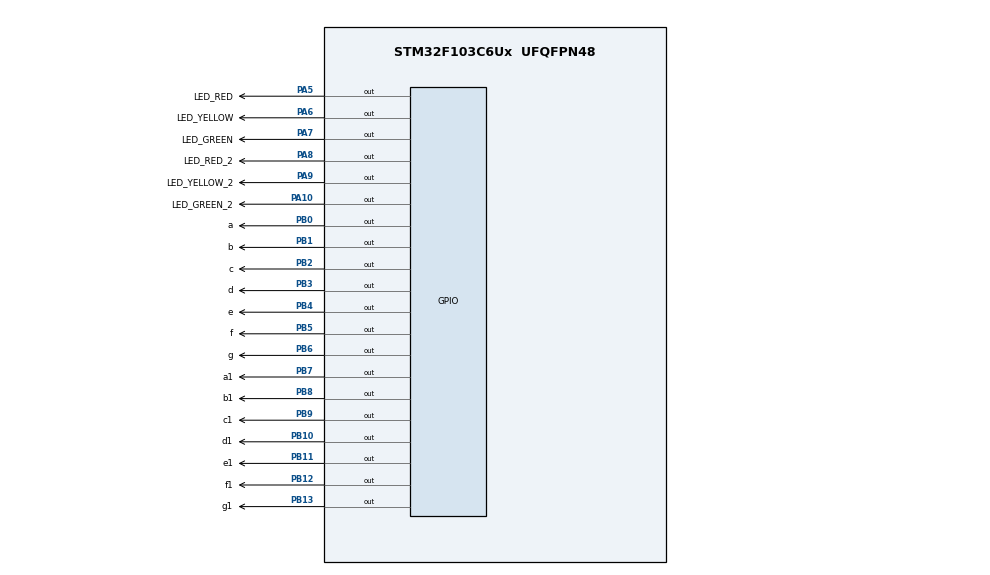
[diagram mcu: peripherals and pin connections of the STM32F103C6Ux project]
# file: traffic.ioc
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Mcu.Family=STM32F1
Mcu.Name=STM32F103C6Ux
Mcu.Package=UFQFPN48
NVIC.PriorityGroup=NVIC_PRIORITYGROUP_4
PA10.GPIO_Label=LED_GREEN_2
PA10.Signal=GPIO_Output
PA5.GPIO_Label=LED_RED
PA5.Signal=GPIO_Output
PA6.GPIO_Label=LED_YELLOW
PA6.Signal=GPIO_Output
PA7.GPIO_Label=LED_GREEN
PA7.Signal=GPIO_Output
PA8.GPIO_Label=LED_RED_2
PA8.Signal=GPIO_Output
PA9.GPIO_Label=LED_YELLOW_2
PA9.Signal=GPIO_Output
PB0.GPIO_Label=a
PB0.Signal=GPIO_Output
PB1.GPIO_Label=b
PB1.Signal=GPIO_Output
PB10.GPIO_Label=d1
PB10.Signal=GPIO_Output
PB11.GPIO_Label=e1
PB11.Signal=GPIO_Output
PB12.GPIO_Label=f1
PB12.Signal=GPIO_Output
PB13.GPIO_Label=g1
PB13.Signal=GPIO_Output
PB2.GPIO_Label=c
PB2.Signal=GPIO_Output
PB3.GPIO_Label=d
PB3.Signal=GPIO_Output
PB4.GPIO_Label=e
PB4.Signal=GPIO_Output
PB5.GPIO_Label=f
PB5.Signal=GPIO_Output
PB6.GPIO_Label=g
PB6.Signal=GPIO_Output
PB7.GPIO_Label=a1
PB7.Signal=GPIO_Output
PB8.GPIO_Label=b1
PB8.Signal=GPIO_Output
PB9.GPIO_Label=c1
PB9.Signal=GPIO_Output
ProjectManager.HeapSize=0x200
ProjectManager.StackSize=0x400
ProjectManager.TargetToolchain=STM32CubeIDE
RCC.APB1Freq_Value=8000000
RCC.APB2Freq_Value=8000000
VP_SYS_VS_ND.Mode=No_Debug
board=custom

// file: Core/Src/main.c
/* USER CODE BEGIN Header */
/**
  ******************************************************************************
  * @file           : main.c
  * @brief          : Main program body
  ******************************************************************************
  * @attention
  *
  * <h2><center>&copy; Copyright (c) 2022 STMicroelectronics.
  * All rights reserved.</center></h2>
  *
  * This software component is licensed by ST under BSD 3-Clause license,
  * the "License"; You may not use this file except in compliance with the
  * License. You may obtain a copy of the License at:
  *                        opensource.org/licenses/BSD-3-Clause
  *
  ******************************************************************************
  */
/* USER CODE END Header */
#include "main.h"

void SystemClock_Config(void);
static void MX_GPIO_Init(void);

/* USER CODE BEGIN 0 */
void display7segment(int num);
void display7segment1(int num);
/* USER CODE END 0 */

int main(void)
{

  /* MCU Configuration--------------------------------------------------------*/

  /* Reset of all peripherals, Initializes the Flash interface and the Systick. */
  HAL_Init();

  /* Configure the system clock */
  SystemClock_Config();

  /* Initialize all configured peripherals */
  MX_GPIO_Init();

  /* Infinite loop */
  /* USER CODE BEGIN WHILE */
  int temp = 0; /*For 2 traffic lights with red led first*/
  int temp1 = 0; /*For 2 traffic lights with green led first*/
  while (1)
  {
    /* USER CODE END WHILE */

    /* USER CODE BEGIN 3 */

	/*Traffic light with red led first*/
	  if (temp < 5) {
	  		  HAL_GPIO_WritePin(LED_RED_GPIO_Port, LED_RED_Pin, RESET);
	  	 	  HAL_GPIO_WritePin(LED_GREEN_GPIO_Port, LED_GREEN_Pin, SET);
	  	 	  HAL_GPIO_WritePin(LED_YELLOW_GPIO_Port, LED_YELLOW_Pin, SET);
	  	  }
	  	  else if (temp < 8){
	  		  HAL_GPIO_WritePin(LED_RED_GPIO_Port, LED_RED_Pin, SET);
	  		  HAL_GPIO_WritePin(LED_GREEN_GPIO_Port, LED_GREEN_Pin, RESET);
	  		  HAL_GPIO_WritePin(LED_YELLOW_GPIO_Port, LED_YELLOW_Pin, SET);
	  	  }
	  	  else {
	  		  HAL_GPIO_WritePin(LED_RED_GPIO_Port, LED_RED_Pin, SET);
	  	 	  HAL_GPIO_WritePin(LED_GREEN_GPIO_Port, LED_GREEN_Pin, SET);
	  	 	  HAL_GPIO_WritePin(LED_YELLOW_GPIO_Port, LED_YELLOW_Pin, RESET);
	  	  }
	  	switch (temp){
	  	/*Countdown for red led 4s to 0s*/
	  	case 0:
	  		display7segment(4);
	  		break;
	  	case 1:
	  		  		display7segment(3);
	  		  		break;
	  	case 2:
	  		 		display7segment(2);
	  		  		break;
	  	case 3:
	  		  		display7segment(1);
	  		  		break;
	  	case 4:
	  		  		display7segment(0);
	  		  		break;
	  	/*Countdown for green led 2s to 0s*/
	  	case 5:
	  		  		display7segment(2);
	  		  		break;
	  	case 6:
	  		  		  		display7segment(1);
	  		  		  		break;
	  	case 7:
	  		  		  		display7segment(0);
	  		  		  		break;
	  	/*Countdown for yellow led 1s to 0s*/
	  	case 8:
	  		  		  		display7segment(1);
	  		  		  		break;
	  	case 9:
	  		  		  		display7segment(0);
	  		  		  		break;
	  	}
	  	  temp++;
	  	  if (temp >= 10) temp = 0;
	  	/*Traffic light with green led first*/
	  	if (temp1 < 3) {
	  			  HAL_GPIO_WritePin(LED_RED_2_GPIO_Port, LED_RED_2_Pin, SET);
	  		 	  HAL_GPIO_WritePin(LED_GREEN_2_GPIO_Port, LED_GREEN_2_Pin, RESET);
	  		 	  HAL_GPIO_WritePin(LED_YELLOW_2_GPIO_Port, LED_YELLOW_2_Pin, SET);
	  		  }
	  		  else if (temp1 < 5){
	  			  HAL_GPIO_WritePin(LED_RED_2_GPIO_Port, LED_RED_2_Pin, SET);
	  			  HAL_GPIO_WritePin(LED_GREEN_2_GPIO_Port, LED_GREEN_2_Pin, SET);
	  			  HAL_GPIO_WritePin(LED_YELLOW_2_GPIO_Port, LED_YELLOW_2_Pin, RESET);
	  		  }
	  		  else {
	  			  HAL_GPIO_WritePin(LED_RED_2_GPIO_Port, LED_RED_2_Pin, RESET);
	  		 	  HAL_GPIO_WritePin(LED_RED_2_GPIO_Port, LED_RED_Pin, SET);
	  		 	  HAL_GPIO_WritePin(LED_YELLOW_2_GPIO_Port, LED_YELLOW_2_Pin, SET);
	  		  }
	  	switch (temp1){
	  			/*Countdown for green led 2s to 0s*/
	  		  	case 0:
	  		  		display7segment1(2);
	  		  		break;
	  		  	case 1:
	  		  		  		display7segment1(1);
	  		  		  		break;
	  		  	case 2:
	  		  		 		display7segment1(0);
	  		  		  		break;
	  		  	/*Countdown for yellow led 1s to 0s*/
	  		  	case 3:
	  		  		  		display7segment1(1);
	  		  		  		break;
	  		  	case 4:
	  		  		  		display7segment1(0);
	  		  		  		break;
	  		  	/*Countdown for red led 4s to 0s*/
	  		  	case 5:
	  		  		  		display7segment1(4);
	  		  		  		break;
	  		  	case 6:
	  		  		  		  		display7segment1(3);
	  		  		  		  		break;
	  		  	case 7:
	  		  		  		  		display7segment1(2);
	  		  		  		  		break;
	  		  	case 8:
	  		  		  		  		display7segment1(1);
	  		  		  		  		break;
	  		  	case 9:
	  		  		  		  		display7segment1(0);
	  		  		  		  		break;
	  		  	}
	  		  temp1++;
	  		  if (temp1 >= 10) temp1 = 0;
	  	  HAL_Delay(1000);
  }
  /* USER CODE END 3 */
}

void SystemClock_Config(void)
{
  RCC_OscInitTypeDef RCC_OscInitStruct = {0};
  RCC_ClkInitTypeDef RCC_ClkInitStruct = {0};

  /** Initializes the RCC Oscillators according to the specified parameters
  * in the RCC_OscInitTypeDef structure.
  */
  RCC_OscInitStruct.OscillatorType = RCC_OSCILLATORTYPE_HSI;
  RCC_OscInitStruct.HSIState = RCC_HSI_ON;
  RCC_OscInitStruct.HSICalibrationValue = RCC_HSICALIBRATION_DEFAULT;
  RCC_OscInitStruct.PLL.PLLState = RCC_PLL_NONE;
  if (HAL_RCC_OscConfig(&RCC_OscInitStruct) != HAL_OK)
  {
    Error_Handler();
  }
  /** Initializes the CPU, AHB and APB buses clocks
  */
  RCC_ClkInitStruct.ClockType = RCC_CLOCKTYPE_HCLK|RCC_CLOCKTYPE_SYSCLK
                              |RCC_CLOCKTYPE_PCLK1|RCC_CLOCKTYPE_PCLK2;
  RCC_ClkInitStruct.SYSCLKSource = RCC_SYSCLKSOURCE_HSI;
  RCC_ClkInitStruct.AHBCLKDivider = RCC_SYSCLK_DIV1;
  RCC_ClkInitStruct.APB1CLKDivider = RCC_HCLK_DIV1;
  RCC_ClkInitStruct.APB2CLKDivider = RCC_HCLK_DIV1;

  if (HAL_RCC_ClockConfig(&RCC_ClkInitStruct, FLASH_LATENCY_0) != HAL_OK)
  {
    Error_Handler();
  }
}

static void MX_GPIO_Init(void)
{
  GPIO_InitTypeDef GPIO_InitStruct = {0};

  /* GPIO Ports Clock Enable */
  __HAL_RCC_GPIOA_CLK_ENABLE();
  __HAL_RCC_GPIOB_CLK_ENABLE();

  /*Configure GPIO pin Output Level */
  HAL_GPIO_WritePin(GPIOA, LED_RED_Pin|LED_YELLOW_Pin|LED_GREEN_Pin|LED_RED_2_Pin
                          |LED_YELLOW_2_Pin|LED_GREEN_2_Pin, GPIO_PIN_RESET);

  /*Configure GPIO pin Output Level */
  HAL_GPIO_WritePin(GPIOB, a_Pin|b_Pin|c_Pin|d1_Pin
                          |e1_Pin|f1_Pin|g1_Pin|d_Pin
                          |e_Pin|f_Pin|g_Pin|a1_Pin
                          |b1_Pin|c1_Pin, GPIO_PIN_RESET);

  /*Configure GPIO pins : LED_RED_Pin LED_YELLOW_Pin LED_GREEN_Pin LED_RED_2_Pin
                           LED_YELLOW_2_Pin LED_GREEN_2_Pin */
  GPIO_InitStruct.Pin = LED_RED_Pin|LED_YELLOW_Pin|LED_GREEN_Pin|LED_RED_2_Pin
                          |LED_YELLOW_2_Pin|LED_GREEN_2_Pin;
  GPIO_InitStruct.Mode = GPIO_MODE_OUTPUT_PP;
  GPIO_InitStruct.Pull = GPIO_NOPULL;
  GPIO_InitStruct.Speed = GPIO_SPEED_FREQ_LOW;
  HAL_GPIO_Init(GPIOA, &GPIO_InitStruct);

  /*Configure GPIO pins : a_Pin b_Pin c_Pin d1_Pin
                           e1_Pin f1_Pin g1_Pin d_Pin
                           e_Pin f_Pin g_Pin a1_Pin
                           b1_Pin c1_Pin */
  GPIO_InitStruct.Pin = a_Pin|b_Pin|c_Pin|d1_Pin
                          |e1_Pin|f1_Pin|g1_Pin|d_Pin
                          |e_Pin|f_Pin|g_Pin|a1_Pin
                          |b1_Pin|c1_Pin;
  GPIO_InitStruct.Mode = GPIO_MODE_OUTPUT_PP;
  GPIO_InitStruct.Pull = GPIO_NOPULL;
  GPIO_InitStruct.Speed = GPIO_SPEED_FREQ_LOW;
  HAL_GPIO_Init(GPIOB, &GPIO_InitStruct);

}

/* USER CODE BEGIN 4 */
void display7segment(int num){
	if (num == 0){
		HAL_GPIO_WritePin(a_GPIO_Port, a_Pin, RESET);
		HAL_GPIO_WritePin(b_GPIO_Port, b_Pin, RESET);
		HAL_GPIO_WritePin(c_GPIO_Port, c_Pin, RESET);
		HAL_GPIO_WritePin(d_GPIO_Port, d_Pin, RESET);
		HAL_GPIO_WritePin(e_GPIO_Port, e_Pin, RESET);
		HAL_GPIO_WritePin(f_GPIO_Port, f_Pin, RESET);
		HAL_GPIO_WritePin(g_GPIO_Port, g_Pin, SET);
	}
	if (num == 1){
			HAL_GPIO_WritePin(a_GPIO_Port, a_Pin, SET);
			HAL_GPIO_WritePin(b_GPIO_Port, b_Pin, RESET);
			HAL_GPIO_WritePin(c_GPIO_Port, c_Pin, RESET);
			HAL_GPIO_WritePin(d_GPIO_Port, d_Pin, SET);
			HAL_GPIO_WritePin(e_GPIO_Port, e_Pin, SET);
			HAL_GPIO_WritePin(f_GPIO_Port, f_Pin, SET);
			HAL_GPIO_WritePin(g_GPIO_Port, g_Pin, SET);
		}
	if (num == 2){
			HAL_GPIO_WritePin(a_GPIO_Port, a_Pin, RESET);
			HAL_GPIO_WritePin(b_GPIO_Port, b_Pin, RESET);
			HAL_GPIO_WritePin(c_GPIO_Port, c_Pin, SET);
			HAL_GPIO_WritePin(d_GPIO_Port, d_Pin, RESET);
			HAL_GPIO_WritePin(e_GPIO_Port, e_Pin, RESET);
			HAL_GPIO_WritePin(f_GPIO_Port, f_Pin, SET);
			HAL_GPIO_WritePin(g_GPIO_Port, g_Pin, RESET);
		}
	if (num == 3){
			HAL_GPIO_WritePin(a_GPIO_Port, a_Pin, RESET);
			HAL_GPIO_WritePin(b_GPIO_Port, b_Pin, RESET);
			HAL_GPIO_WritePin(c_GPIO_Port, c_Pin, RESET);
			HAL_GPIO_WritePin(d_GPIO_Port, d_Pin, RESET);
			HAL_GPIO_WritePin(e_GPIO_Port, e_Pin, SET);
			HAL_GPIO_WritePin(f_GPIO_Port, f_Pin, SET);
			HAL_GPIO_WritePin(g_GPIO_Port, g_Pin, RESET);
		}
	if (num == 4){
			HAL_GPIO_WritePin(a_GPIO_Port, a_Pin, SET);
			HAL_GPIO_WritePin(b_GPIO_Port, b_Pin, RESET);
			HAL_GPIO_WritePin(c_GPIO_Port, c_Pin, RESET);
			HAL_GPIO_WritePin(d_GPIO_Port, d_Pin, SET);
			HAL_GPIO_WritePin(e_GPIO_Port, e_Pin, SET);
			HAL_GPIO_WritePin(f_GPIO_Port, f_Pin, RESET);
			HAL_GPIO_WritePin(g_GPIO_Port, g_Pin, RESET);
		}
	if (num == 5){
			HAL_GPIO_WritePin(a_GPIO_Port, a_Pin, RESET);
			HAL_GPIO_WritePin(b_GPIO_Port, b_Pin, SET);
			HAL_GPIO_WritePin(c_GPIO_Port, c_Pin, RESET);
			HAL_GPIO_WritePin(d_GPIO_Port, d_Pin, RESET);
			HAL_GPIO_WritePin(e_GPIO_Port, e_Pin, SET);
			HAL_GPIO_WritePin(f_GPIO_Port, f_Pin, RESET);
			HAL_GPIO_WritePin(g_GPIO_Port, g_Pin, RESET);
		}
	if (num == 6){
			HAL_GPIO_WritePin(a_GPIO_Port, a_Pin, RESET);
			HAL_GPIO_WritePin(b_GPIO_Port, b_Pin, SET);
			HAL_GPIO_WritePin(c_GPIO_Port, c_Pin, RESET);
			HAL_GPIO_WritePin(d_GPIO_Port, d_Pin, RESET);
			HAL_GPIO_WritePin(e_GPIO_Port, e_Pin, RESET);
			HAL_GPIO_WritePin(f_GPIO_Port, f_Pin, RESET);
			HAL_GPIO_WritePin(g_GPIO_Port, g_Pin, RESET);
		}
	if (num == 7){
			HAL_GPIO_WritePin(a_GPIO_Port, a_Pin, RESET);
			HAL_GPIO_WritePin(b_GPIO_Port, b_Pin, RESET);
			HAL_GPIO_WritePin(c_GPIO_Port, c_Pin, RESET);
			HAL_GPIO_WritePin(d_GPIO_Port, d_Pin, SET);
			HAL_GPIO_WritePin(e_GPIO_Port, e_Pin, SET);
			HAL_GPIO_WritePin(f_GPIO_Port, f_Pin, SET);
			HAL_GPIO_WritePin(g_GPIO_Port, g_Pin, SET);
		}
	if (num == 8){
			HAL_GPIO_WritePin(a_GPIO_Port, a_Pin, RESET);
			HAL_GPIO_WritePin(b_GPIO_Port, b_Pin, RESET);
			HAL_GPIO_WritePin(c_GPIO_Port, c_Pin, RESET);
			HAL_GPIO_WritePin(d_GPIO_Port, d_Pin, RESET);
			HAL_GPIO_WritePin(e_GPIO_Port, e_Pin, RESET);
			HAL_GPIO_WritePin(f_GPIO_Port, f_Pin, RESET);
			HAL_GPIO_WritePin(g_GPIO_Port, g_Pin, RESET);
		}
	if (num == 9){
			HAL_GPIO_WritePin(a_GPIO_Port, a_Pin, RESET);
			HAL_GPIO_WritePin(b_GPIO_Port, b_Pin, RESET);
			HAL_GPIO_WritePin(c_GPIO_Port, c_Pin, RESET);
			HAL_GPIO_WritePin(d_GPIO_Port, d_Pin, RESET);
			HAL_GPIO_WritePin(e_GPIO_Port, e_Pin, SET);
			HAL_GPIO_WritePin(f_GPIO_Port, f_Pin, RESET);
			HAL_GPIO_WritePin(g_GPIO_Port, g_Pin, RESET);
		}
}
void display7segment1(int num){
	if (num == 0){
		HAL_GPIO_WritePin(a1_GPIO_Port, a1_Pin, RESET);
		HAL_GPIO_WritePin(b1_GPIO_Port, b1_Pin, RESET);
		HAL_GPIO_WritePin(c1_GPIO_Port, c1_Pin, RESET);
		HAL_GPIO_WritePin(d1_GPIO_Port, d1_Pin, RESET);
		HAL_GPIO_WritePin(e1_GPIO_Port, e1_Pin, RESET);
		HAL_GPIO_WritePin(f1_GPIO_Port, f1_Pin, RESET);
		HAL_GPIO_WritePin(g1_GPIO_Port, g1_Pin, SET);
	}
	if (num == 1){
			HAL_GPIO_WritePin(a1_GPIO_Port, a1_Pin, SET);
			HAL_GPIO_WritePin(b1_GPIO_Port, b1_Pin, RESET);
			HAL_GPIO_WritePin(c1_GPIO_Port, c1_Pin, RESET);
			HAL_GPIO_WritePin(d1_GPIO_Port, d1_Pin, SET);
			HAL_GPIO_WritePin(e1_GPIO_Port, e1_Pin, SET);
			HAL_GPIO_WritePin(f1_GPIO_Port, f1_Pin, SET);
			HAL_GPIO_WritePin(g1_GPIO_Port, g1_Pin, SET);
		}
	if (num == 2){
			HAL_GPIO_WritePin(a1_GPIO_Port, a1_Pin, RESET);
			HAL_GPIO_WritePin(b1_GPIO_Port, b1_Pin, RESET);
			HAL_GPIO_WritePin(c1_GPIO_Port, c1_Pin, SET);
			HAL_GPIO_WritePin(d1_GPIO_Port, d1_Pin, RESET);
			HAL_GPIO_WritePin(e1_GPIO_Port, e1_Pin, RESET);
			HAL_GPIO_WritePin(f1_GPIO_Port, f1_Pin, SET);
			HAL_GPIO_WritePin(g1_GPIO_Port, g1_Pin, RESET);
		}
	if (num == 3){
			HAL_GPIO_WritePin(a1_GPIO_Port, a1_Pin, RESET);
			HAL_GPIO_WritePin(b1_GPIO_Port, b1_Pin, RESET);
			HAL_GPIO_WritePin(c1_GPIO_Port, c1_Pin, RESET);
			HAL_GPIO_WritePin(d1_GPIO_Port, d1_Pin, RESET);
			HAL_GPIO_WritePin(e1_GPIO_Port, e1_Pin, SET);
			HAL_GPIO_WritePin(f1_GPIO_Port, f1_Pin, SET);
			HAL_GPIO_WritePin(g1_GPIO_Port, g1_Pin, RESET);
		}
	if (num == 4){
			HAL_GPIO_WritePin(a1_GPIO_Port, a1_Pin, SET);
			HAL_GPIO_WritePin(b1_GPIO_Port, b1_Pin, RESET);
			HAL_GPIO_WritePin(c1_GPIO_Port, c1_Pin, RESET);
			HAL_GPIO_WritePin(d1_GPIO_Port, d1_Pin, SET);
			HAL_GPIO_WritePin(e1_GPIO_Port, e1_Pin, SET);
			HAL_GPIO_WritePin(f1_GPIO_Port, f1_Pin, RESET);
			HAL_GPIO_WritePin(g1_GPIO_Port, g1_Pin, RESET);
		}
	if (num == 5){
			HAL_GPIO_WritePin(a1_GPIO_Port, a1_Pin, RESET);
			HAL_GPIO_WritePin(b1_GPIO_Port, b1_Pin, SET);
			HAL_GPIO_WritePin(c1_GPIO_Port, c1_Pin, RESET);
			HAL_GPIO_WritePin(d1_GPIO_Port, d1_Pin, RESET);
			HAL_GPIO_WritePin(e1_GPIO_Port, e1_Pin, SET);
			HAL_GPIO_WritePin(f1_GPIO_Port, f1_Pin, RESET);
			HAL_GPIO_WritePin(g1_GPIO_Port, g1_Pin, RESET);
		}
	if (num == 6){
			HAL_GPIO_WritePin(a1_GPIO_Port, a1_Pin, RESET);
			HAL_GPIO_WritePin(b1_GPIO_Port, b1_Pin, SET);
			HAL_GPIO_WritePin(c1_GPIO_Port, c1_Pin, RESET);
			HAL_GPIO_WritePin(d1_GPIO_Port, d1_Pin, RESET);
			HAL_GPIO_WritePin(e1_GPIO_Port, e1_Pin, RESET);
			HAL_GPIO_WritePin(f1_GPIO_Port, f1_Pin, RESET);
			HAL_GPIO_WritePin(g1_GPIO_Port, g1_Pin, RESET);
		}
	if (num == 7){
			HAL_GPIO_WritePin(a1_GPIO_Port, a1_Pin, RESET);
			HAL_GPIO_WritePin(b1_GPIO_Port, b1_Pin, RESET);
			HAL_GPIO_WritePin(c1_GPIO_Port, c1_Pin, RESET);
			HAL_GPIO_WritePin(d1_GPIO_Port, d1_Pin, SET);
			HAL_GPIO_WritePin(e1_GPIO_Port, e1_Pin, SET);
			HAL_GPIO_WritePin(f1_GPIO_Port, f1_Pin, SET);
			HAL_GPIO_WritePin(g1_GPIO_Port, g1_Pin, SET);
		}
	if (num == 8){
			HAL_GPIO_WritePin(a1_GPIO_Port, a1_Pin, RESET);
			HAL_GPIO_WritePin(b1_GPIO_Port, b1_Pin, RESET);
			HAL_GPIO_WritePin(c1_GPIO_Port, c1_Pin, RESET);
			HAL_GPIO_WritePin(d1_GPIO_Port, d1_Pin, RESET);
			HAL_GPIO_WritePin(e1_GPIO_Port, e1_Pin, RESET);
			HAL_GPIO_WritePin(f1_GPIO_Port, f1_Pin, RESET);
			HAL_GPIO_WritePin(g1_GPIO_Port, g1_Pin, RESET);
		}
	if (num == 9){
			HAL_GPIO_WritePin(a1_GPIO_Port, a1_Pin, RESET);
			HAL_GPIO_WritePin(b1_GPIO_Port, b1_Pin, RESET);
			HAL_GPIO_WritePin(c1_GPIO_Port, c1_Pin, RESET);
			HAL_GPIO_WritePin(d1_GPIO_Port, d1_Pin, RESET);
			HAL_GPIO_WritePin(e1_GPIO_Port, e1_Pin, SET);
			HAL_GPIO_WritePin(f1_GPIO_Port, f1_Pin, RESET);
			HAL_GPIO_WritePin(g1_GPIO_Port, g1_Pin, RESET);
		}
}
/* USER CODE END 4 */

void Error_Handler(void)
{
  __disable_irq();
  while (1)
  {
  }
}

/************************ (C) COPYRIGHT STMicroelectronics *****END OF FILE****/
